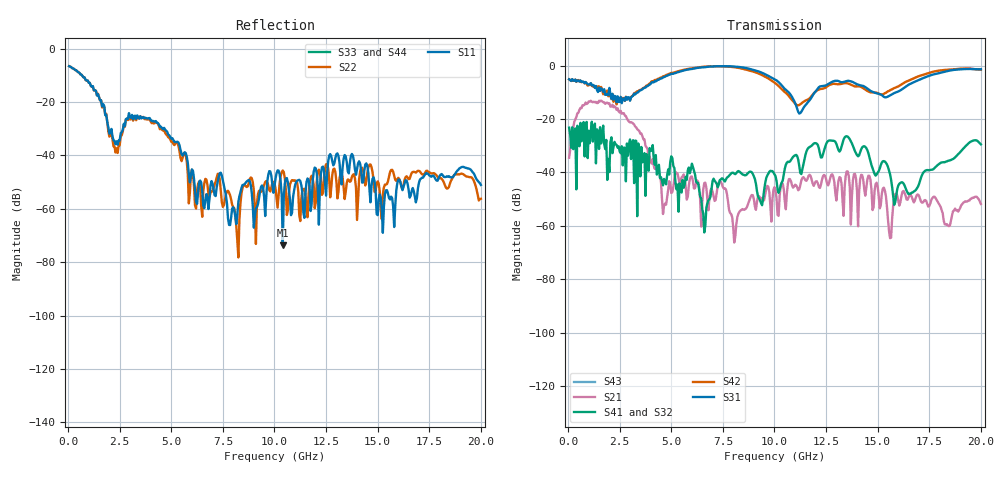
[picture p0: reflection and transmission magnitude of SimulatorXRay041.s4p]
# MHz MA S R 50.0
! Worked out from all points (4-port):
!   400 points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, 50 MHz to 20 GHz, reference 50 ohm
!   strongest paths, dB at 50 MHz, 5.05 GHz, 10.05 GHz, 15.05 GHz, 20 GHz:
!     S31: -5.1, -3.1, -5.3, -10.5, -1.4
!     S42: -5.1, -2.7, -6.6, -10.5, -1.5
!     S41: -23.2, -34.7, -41.4, -39.5, -29.5
!     S32: -23.3, -34.6, -41.4, -39.5, -29.5
!     S21: -34.5, -47.3, -46.5, -48.8, -51.8
!     S43: -, -, -, -, -
!   lowest |S11| = -73.7 dB at 10.4 GHz (marker M1), VSWR 1.00, Z = 50 + j0.00937 ohm
!   |S11| at or under -10 dB: 672.6 MHz to end of sweep
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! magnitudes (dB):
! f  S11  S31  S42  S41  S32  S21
! 50 MHz  -6.6  -5.1  -5.1  -23.2  -23.3  -34.5
! 8.25 GHz  -57.4  -0.5  -0.8  -39.5  -39.5  -55.5
! 10.4 GHz  -73.7  -7.8  -9.2  -43.0  -43.0  -44.2
! 12.7 GHz  -39.5  -6.5  -7.1  -28.0  -28.0  -42.1
! 15.25 GHz  -69.0  -11.4  -10.8  -35.8  -35.8  -46.0
! 15.4 GHz  -53.1  -11.9  -10.2  -36.4  -36.4  -49.0
! 20 GHz  -51.0  -1.4  -1.5  -29.5  -29.5  -51.8
